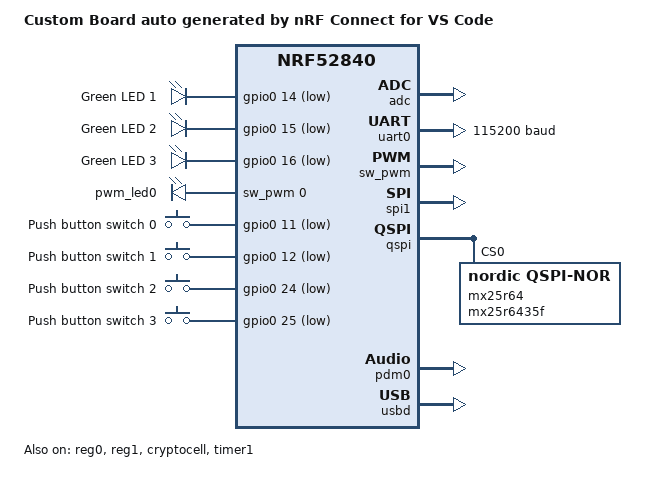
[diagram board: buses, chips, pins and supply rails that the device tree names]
/dts-v1/;
#include <nordic/nrf52840_qiaa.dtsi>
#include "deneme_board_nrf52840-pinctrl.dtsi"

/ {
	model = "Custom Board auto generated by nRF Connect for VS Code";
	compatible = "Fizix,deneme-board-nrf52840";

	chosen {
		zephyr,sram = &sram0;
		zephyr,flash = &flash0;
		zephyr,code-partition = &slot0_partition;
		zephyr,bt-mon-uart = &uart0;
		zephyr,bt-c2h-uart = &uart0;
		zephyr,console = &uart0;
		zephyr,shell-uart = &uart0;
		zephyr,uart-mcumgr = &uart0;
		zephyr,dmic-channel = &pdm0;
	};

	leds {
		compatible = "gpio-leds";
		led1: led_1 {
			gpios = <&gpio0 14 GPIO_ACTIVE_LOW>;
			label = "Green LED 1";
		};
		led2: led_2 {
			gpios = <&gpio0 15 GPIO_ACTIVE_LOW>;
			label = "Green LED 2";
		};
		led3: led_3 {
			gpios = <&gpio0 16 GPIO_ACTIVE_LOW>;
			label = "Green LED 3";
		};
	};

	pwmleds {
		compatible = "pwm-leds";
		pwm_led0: pwm_led_0 {
			pwms = <&sw_pwm 0 PWM_MSEC(20) PWM_POLARITY_INVERTED>;
		};
	};

	buttons {
		compatible = "gpio-keys";
		button0: button_0 {
			gpios = <&gpio0 11 (GPIO_PULL_UP | GPIO_ACTIVE_LOW)>;
			label = "Push button switch 0";
			zephyr,code = <INPUT_KEY_0>;
		};
		button1: button_1 {
			gpios = <&gpio0 12 (GPIO_PULL_UP | GPIO_ACTIVE_LOW)>;
			label = "Push button switch 1";
			zephyr,code = <INPUT_KEY_1>;
		};
		button2: button_2 {
			gpios = <&gpio0 24 (GPIO_PULL_UP | GPIO_ACTIVE_LOW)>;
			label = "Push button switch 2";
			zephyr,code = <INPUT_KEY_2>;
		};
		button3: button_3 {
			gpios = <&gpio0 25 (GPIO_PULL_UP | GPIO_ACTIVE_LOW)>;
			label = "Push button switch 3";
			zephyr,code = <INPUT_KEY_3>;
		};
	};

	aliases {
		led1 = &led1;
		led2 = &led2;
		led3 = &led3;
		pwm-led0 = &pwm_led0;
		sw0 = &button0;
		sw1 = &button1;
		sw2 = &button2;
		sw3 = &button3;
		mcuboot-button0 = &button0;
	};
};

&flash0 {
	reg = <0x00000000 DT_SIZE_M(1)>;
	partitions {
		compatible = "fixed-partitions";
		#address-cells = <1>;
		#size-cells = <1>;

		boot_partition: partition@0 {
			label = "mcuboot";
			reg = <0x00000000 DT_SIZE_K(48)>;
		};

		slot0_partition: partition@c000 {
			label = "image-0";
			reg = <0x0000c000 DT_SIZE_K(472)>;
		};

		slot1_partition: partition@82000 {
			label = "image-1";
			reg = <0x00082000 DT_SIZE_K(472)>;
		};

		storage_partition: partition@f8000 {
			label = "storage";
			reg = <0x000f8000 DT_SIZE_K(32)>;
		};
	};
};

&reg0 {
	status = "okay";
};

&reg1 {
	regulator-initial-mode = <NRF5X_REG_MODE_DCDC>;
	status = "okay";
};

&power {
    status = "okay";
    compatible = "nordic,nrf-power";
};

&adc {
	status = "okay";
};

&uicr {
	gpio-as-nreset;
};

&gpiote {
	status = "okay";
};

&gpio0 {
	status = "okay";
	gpio-reserved-ranges = <0 2>, <6 1>, <8 3>, <17 7>;
	gpio-line-names = "XL1", "XL2", "AREF", "A0", "A1", "RTS", "TXD",
		"CTS", "RXD", "NFC1", "NFC2", "BUTTON1", "BUTTON2", "PWMLED1",
		"LED2", "LED3", "LED4", "QSPI CS", "RESET", "QSPI CLK",
		"QSPI DIO0", "QSPI DIO1", "QSPI DIO2", "QSPI DIO3","BUTTON3",
		"BUTTON4", "SDA", "SCL", "A2", "A3", "A4", "A5";
};

&gpio1 {
	status = "okay";
	gpio-line-names = "", "D0", "D1", "D2", "D3", "D4", "D5", "D6",
		"D7", "", "D8", "D9", "D10", "D11", "D12", "D13";
};

&uart0 {
	compatible = "nordic,nrf-uarte";
	status = "okay";
	current-speed = <115200>;
	pinctrl-0 = <&uart0_default>;
	pinctrl-1 = <&uart0_sleep>;
	pinctrl-names = "default", "sleep";
};

&i2c1 {
	compatible = "nordic,nrf-twi";
	/* Cannot be used together with spi1. */
	/* status = "okay"; */
	pinctrl-0 = <&i2c1_default>;
	pinctrl-1 = <&i2c1_sleep>;
	pinctrl-names = "default", "sleep";
};

&cryptocell {
	status = "okay";
};


&timer1 {
	status = "okay";
};

&sw_pwm {
	status = "okay";
	channel-gpios = <&gpio0 13 PWM_POLARITY_INVERTED>;
};

&pwm0 {
	status = "disabled";
};

&spi0 {
	compatible = "nordic,nrf-spi";
	/* Cannot be used together with i2c0. */
	/* status = "okay"; */
	pinctrl-0 = <&spi0_default>;
	pinctrl-1 = <&spi0_sleep>;
	pinctrl-names = "default", "sleep";
};

&spi1 {
	compatible = "nordic,nrf-spi";
	status = "okay";
	pinctrl-0 = <&spi1_default>;
	pinctrl-1 = <&spi1_sleep>;
	pinctrl-names = "default", "sleep";
};

&spi2 {
	compatible = "nordic,nrf-spi";
	status = "disabled";
	pinctrl-0 = <&spi2_default>;
	pinctrl-1 = <&spi2_sleep>;
	pinctrl-names = "default", "sleep";
};

&qspi {
	status = "okay";
	pinctrl-0 = <&qspi_default>;
	pinctrl-1 = <&qspi_sleep>;
	pinctrl-names = "default", "sleep";
	mx25r64: mx25r6435f@0 {
		compatible = "nordic,qspi-nor";
		reg = <0>;
		/* MX25R64 supports only pp and pp4io */
		writeoc = "pp4io";
		/* MX25R64 supports all readoc options */
		readoc = "read4io";
		sck-frequency = <8000000>;
		jedec-id = [c2 28 17];
		sfdp-bfp = [
			e5 20 f1 ff  ff ff ff 03  44 eb 08 6b  08 3b 04 bb
			ee ff ff ff  ff ff 00 ff  ff ff 00 ff  0c 20 0f 52
			10 d8 00 ff  23 72 f5 00  82 ed 04 cc  44 83 68 44
			30 b0 30 b0  f7 c4 d5 5c  00 be 29 ff  f0 d0 ff ff
		];
		size = <67108864>;
		has-dpd;
		t-enter-dpd = <10000>;
		t-exit-dpd = <35000>;
	};
};

dmic_dev: &pdm0 {
	status = "okay";
	pinctrl-0 = <&pdm0_default_alt>;
	pinctrl-names = "default";
	clock-source = "PCLK32M_HFXO";
};

zephyr_udc0: &usbd {
	compatible = "nordic,nrf-usbd";
	status = "okay";
};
